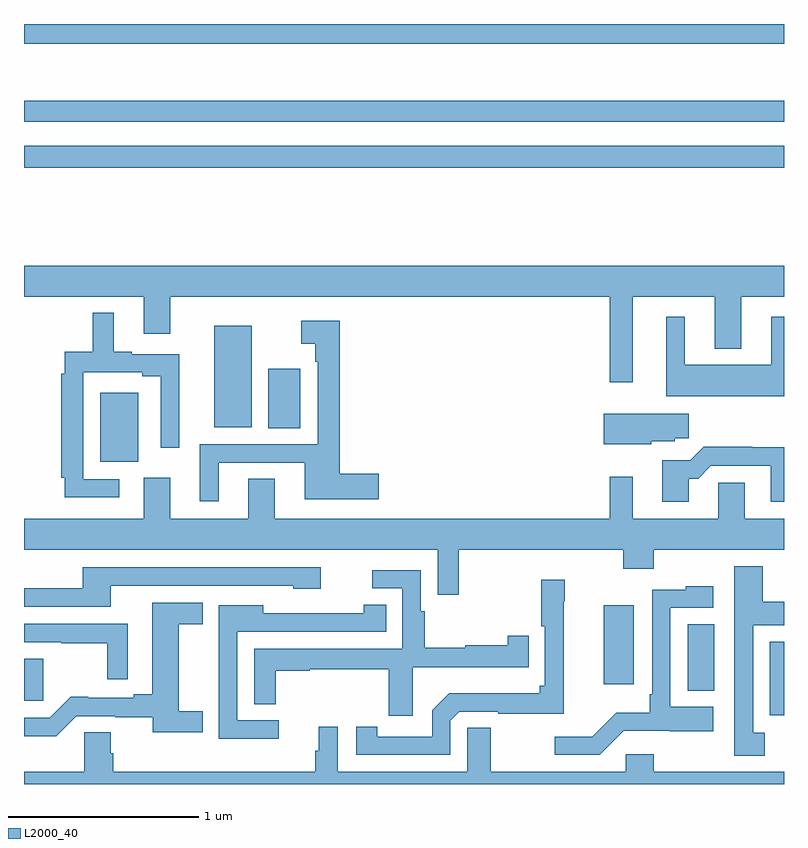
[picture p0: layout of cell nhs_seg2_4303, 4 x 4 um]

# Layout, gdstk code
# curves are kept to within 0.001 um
import gdstk
lib = gdstk.Library(unit=1e-6, precision=1e-09)
def R(c, l, rs):  # rectangles x0, y0, x1, y1
    for r in rs: c.add(gdstk.rectangle(r[:2], r[2:], *l))
def P(c, l, *ps):  # polygons
    for p in ps: c.add(gdstk.Polygon(p, *l))
L2000_40 = (2000, 40)

nhs_seg2_4303 = lib.new_cell('nhs_seg2_4303')
R(nhs_seg2_4303, L2000_40, [(348.926,584.162,349,584.548), (345,584.237,345.1,584.458), (348.494,584.291,348.634,584.642), (348.05,584.325,348.208,584.74), (345.401,585.497,345.601,585.859), (346.286,585.673,346.453,585.985), (346.001,585.677,346.198,586.213), (345,587.044,349,587.16), (345,587.286,349,587.395), (345,587.696,349,587.8)])
P(nhs_seg2_4303, L2000_40, [(345,586.364),(345.629,586.364),(345.629,586.17),(345.769,586.17),(345.769,586.364),(348.084,586.364),(348.084,585.915),(348.205,585.915),(348.205,586.364),(348.635,586.364),(348.635,586.091),(348.775,586.091),(348.775,586.364),(349,586.364),(349,586.528),(345,586.528)],
  [(345.502,585.405),(345.312,585.405),(345.312,585.966),(345.623,585.966),(345.623,585.946),(345.72,585.946),(345.72,585.57),(345.818,585.57),(345.818,586.062),(345.568,586.062),(345.568,586.075),(345.472,586.075),(345.472,586.279),(345.363,586.279),(345.363,586.075),(345.214,586.075),(345.214,585.959),(345.196,585.959),(345.196,585.412),(345.214,585.412),(345.214,585.309),(345.502,585.309)],
  [(349,586.258),(348.932,586.258),(348.932,586.006),(348.478,586.006),(348.478,586.258),(348.38,586.258),(348.38,585.842),(349,585.842)],
  [(346.024,585.492),(346.478,585.492),(346.478,585.299),(346.867,585.299),(346.867,585.434),(346.661,585.434),(346.661,586.237),(346.458,586.237),(346.458,586.118),(346.533,586.118),(346.533,586.022),(346.545,586.022),(346.545,585.588),(345.926,585.588),(345.926,585.288),(346.024,585.288)],
  [(348.3,585.605),(348.426,585.605),(348.426,585.619),(348.499,585.619),(348.499,585.748),(348.05,585.748),(348.05,585.587),(348.3,585.587)],
  [(348.499,585.407),(348.548,585.407),(348.615,585.474),(348.929,585.474),(348.929,585.285),(349,585.285),(349,585.572),(348.833,585.572),(348.833,585.575),(348.578,585.575),(348.507,585.504),(348.359,585.504),(348.359,585.285),(348.499,585.285)],
  [(347.287,585.032),(348.155,585.032),(348.155,584.933),(348.315,584.933),(348.315,585.032),(349,585.032),(349,585.196),(348.793,585.196),(348.793,585.386),(348.654,585.386),(348.654,585.196),(348.205,585.196),(348.205,585.418),(348.084,585.418),(348.084,585.196),(346.321,585.196),(346.321,585.407),(346.181,585.407),(346.181,585.196),(345.769,585.196),(345.769,585.412),(345.629,585.412),(345.629,585.196),(345,585.196),(345,585.032),(347.178,585.032),(347.178,584.796),(347.287,584.796)],
  [(348.898,584.07),(348.838,584.07),(348.838,584.636),(349,584.636),(349,584.758),(348.889,584.758),(348.889,584.947),(348.737,584.947),(348.737,583.949),(348.898,583.949)],
  [(345.457,584.844),(346.416,584.844),(346.416,584.828),(346.561,584.828),(346.561,584.94),(345.31,584.94),(345.31,584.831),(345,584.831),(345,584.733),(345.457,584.733)],
  [(347.047,584.414),(347.657,584.414),(347.657,584.581),(347.546,584.581),(347.546,584.531),(347.322,584.531),(347.322,584.516),(347.108,584.516),(347.108,584.708),(347.088,584.708),(347.088,584.925),(346.833,584.925),(346.833,584.829),(346.992,584.829),(346.992,584.511),(346.212,584.511),(346.212,584.221),(346.324,584.221),(346.324,584.395),(346.505,584.395),(346.505,584.403),(346.919,584.403),(346.919,584.16),(347.047,584.16)],
  [(347.244,584.133),(347.292,584.181),(347.495,584.181),(347.495,584.169),(347.84,584.169),(347.84,584.762),(347.846,584.762),(347.846,584.875),(347.722,584.875),(347.722,584.63),(347.742,584.63),(347.742,584.316),(347.714,584.316),(347.714,584.278),(347.239,584.278),(347.148,584.187),(347.148,584.049),(346.858,584.049),(346.858,584.101),(346.749,584.101),(346.749,583.953),(347.244,583.953)],
  [(348.157,584.079),(348.628,584.078),(348.628,584.206),(348.402,584.206),(348.402,584.727),(348.628,584.727),(348.628,584.842),(348.483,584.842),(348.483,584.823),(348.306,584.823),(348.306,584.272),(348.294,584.272),(348.294,584.176),(348.116,584.176),(347.99,584.05),(347.793,584.05),(347.793,583.953),(348.031,583.953)],
  [(345.276,584.157),(345.48,584.157),(345.48,584.152),(345.677,584.152),(345.677,584.072),(345.941,584.072),(345.941,584.183),(345.814,584.183),(345.814,584.641),(345.941,584.641),(345.941,584.755),(345.674,584.755),(345.674,584.273),(345.578,584.273),(345.578,584.253),(345.337,584.253),(345.337,584.258),(345.245,584.258),(345.135,584.148),(345,584.148),(345,584.051),(345.17,584.051)],
  [(346.342,584.136),(346.122,584.136),(346.122,584.601),(346.907,584.601),(346.907,584.744),(346.789,584.744),(346.789,584.698),(346.258,584.698),(346.258,584.74),(346.026,584.74),(346.026,584.504),(346.025,584.504),(346.025,584.269),(346.026,584.269),(346.026,584.039),(346.342,584.039)],
  [(345.546,584.643),(345,584.643),(345,584.547),(345.196,584.547),(345.196,584.542),(345.438,584.542),(345.438,584.352),(345.546,584.352)],
  [(349,583.864),(348.315,583.864),(348.315,583.957),(348.168,583.957),(348.168,583.864),(347.457,583.864),(347.457,584.096),(347.334,584.096),(347.334,583.864),(346.651,583.864),(346.651,584.101),(346.55,584.101),(346.55,583.974),(346.533,583.974),(346.533,583.864),(345.47,583.864),(345.47,583.962),(345.457,583.962),(345.457,584.072),(345.318,584.072),(345.318,583.864),(345,583.864),(345,583.8),(349,583.8)])

lib.write_gds('nhs_seg2_4303.gds')
